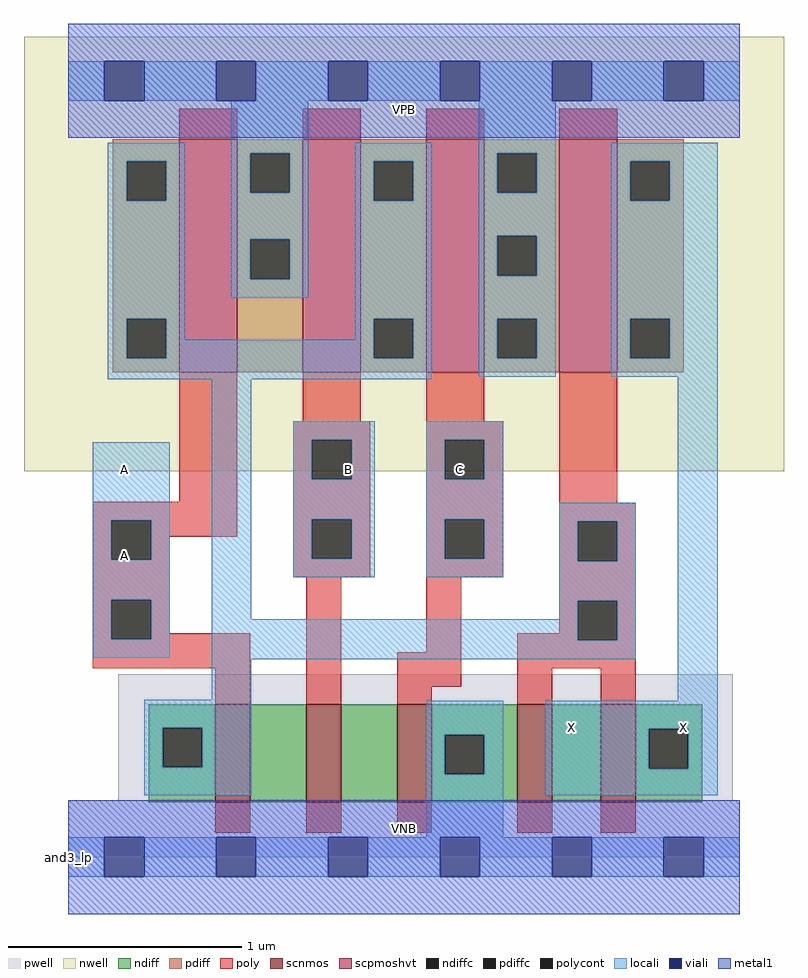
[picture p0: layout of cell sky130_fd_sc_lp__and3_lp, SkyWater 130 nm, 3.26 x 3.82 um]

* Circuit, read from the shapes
.subckt sky130_fd_sc_lp__and3_lp A B C VGND VNB VPB VPWR X
XM1 n1 A n2 VNB sky130_fd_pr__nfet_01v8 w=0.42 l=0.15
XM2 n3 B n1 VNB sky130_fd_pr__nfet_01v8 w=0.42 l=0.15
XM3 VGND C n3 VNB sky130_fd_pr__nfet_01v8 w=0.42 l=0.15
XM4 n4 n2 VGND VNB sky130_fd_pr__nfet_01v8 w=0.42 l=0.15
XM5 X n2 n4 VNB sky130_fd_pr__nfet_01v8 w=0.42 l=0.15
XM6 VPWR A n2 VPB sky130_fd_pr__pfet_01v8_hvt w=1 l=0.25
XM7 n2 B VPWR VPB sky130_fd_pr__pfet_01v8_hvt w=1 l=0.25
XM8 VPWR C n2 VPB sky130_fd_pr__pfet_01v8_hvt w=1 l=0.25
XM9 X n2 VPWR VPB sky130_fd_pr__pfet_01v8_hvt w=1 l=0.25
.ends

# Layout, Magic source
magic
tech sky130A
magscale 1 2
<< nwell >>
rect -38 331 614 704
<< pwell >>
rect 43 49 570 157
rect 0 0 576 49
<< scnmos >>
rect 126 47 156 131
rect 204 47 234 131
rect 282 47 312 131
rect 385 47 415 131
rect 457 47 487 131
<< scpmoshvt >>
rect 95 416 145 616
rect 201 416 251 616
rect 307 416 357 616
rect 421 416 471 616
<< ndiff >>
rect 69 111 126 131
rect 69 77 81 111
rect 115 77 126 111
rect 69 47 126 77
rect 156 47 204 131
rect 234 47 282 131
rect 312 105 385 131
rect 312 71 323 105
rect 357 71 385 105
rect 312 47 385 71
rect 415 47 457 131
rect 487 110 544 131
rect 487 76 498 110
rect 532 76 544 110
rect 487 47 544 76
<< pdiff >>
rect 38 597 95 616
rect 38 563 50 597
rect 84 563 95 597
rect 38 462 95 563
rect 38 428 50 462
rect 84 428 95 462
rect 38 416 95 428
rect 145 604 201 616
rect 145 570 156 604
rect 190 570 201 604
rect 145 530 201 570
rect 145 496 156 530
rect 190 496 201 530
rect 145 416 201 496
rect 251 597 307 616
rect 251 563 262 597
rect 296 563 307 597
rect 251 462 307 563
rect 251 428 262 462
rect 296 428 307 462
rect 251 416 307 428
rect 357 604 421 616
rect 357 570 368 604
rect 402 570 421 604
rect 357 533 421 570
rect 357 499 368 533
rect 402 499 421 533
rect 357 462 421 499
rect 357 428 368 462
rect 402 428 421 462
rect 357 416 421 428
rect 471 597 528 616
rect 471 563 482 597
rect 516 563 528 597
rect 471 462 528 563
rect 471 428 482 462
rect 516 428 528 462
rect 471 416 528 428
<< ndiffc >>
rect 81 77 115 111
rect 323 71 357 105
rect 498 76 532 110
<< pdiffc >>
rect 50 563 84 597
rect 50 428 84 462
rect 156 570 190 604
rect 156 496 190 530
rect 262 563 296 597
rect 262 428 296 462
rect 368 570 402 604
rect 368 499 402 533
rect 368 428 402 462
rect 482 563 516 597
rect 482 428 516 462
<< poly >>
rect 95 616 145 642
rect 201 616 251 642
rect 307 616 357 642
rect 421 616 471 642
rect 95 305 145 416
rect 201 374 251 416
rect 307 374 357 416
rect 21 289 145 305
rect 21 255 37 289
rect 71 275 145 289
rect 193 358 259 374
rect 193 324 209 358
rect 243 324 259 358
rect 193 290 259 324
rect 71 255 87 275
rect 21 221 87 255
rect 193 256 209 290
rect 243 256 259 290
rect 193 240 259 256
rect 307 358 373 374
rect 307 324 323 358
rect 357 324 373 358
rect 307 290 373 324
rect 307 256 323 290
rect 357 256 373 290
rect 307 240 373 256
rect 421 304 471 416
rect 421 288 487 304
rect 421 254 437 288
rect 471 254 487 288
rect 21 187 37 221
rect 71 192 87 221
rect 71 187 156 192
rect 21 162 156 187
rect 126 131 156 162
rect 204 131 234 240
rect 307 176 337 240
rect 421 220 487 254
rect 421 192 437 220
rect 282 146 337 176
rect 385 186 437 192
rect 471 186 487 220
rect 385 162 487 186
rect 282 131 312 146
rect 385 131 415 162
rect 457 131 487 162
rect 126 21 156 47
rect 204 21 234 47
rect 282 21 312 47
rect 385 21 415 47
rect 457 21 487 47
<< polycont >>
rect 37 255 71 289
rect 209 324 243 358
rect 209 256 243 290
rect 323 324 357 358
rect 323 256 357 290
rect 437 254 471 288
rect 37 187 71 221
rect 437 186 471 220
<< locali >>
rect 0 649 31 683
rect 65 649 127 683
rect 161 649 223 683
rect 257 649 319 683
rect 353 649 415 683
rect 449 649 511 683
rect 545 649 576 683
rect 34 597 100 613
rect 34 563 50 597
rect 84 563 100 597
rect 34 462 100 563
rect 140 604 206 649
rect 140 570 156 604
rect 190 570 206 604
rect 140 530 206 570
rect 140 496 156 530
rect 190 496 206 530
rect 140 480 206 496
rect 246 597 312 613
rect 246 563 262 597
rect 296 563 312 597
rect 34 428 50 462
rect 84 444 100 462
rect 246 462 312 563
rect 246 444 262 462
rect 84 428 262 444
rect 296 428 312 462
rect 34 410 312 428
rect 352 604 418 649
rect 352 570 368 604
rect 402 570 418 604
rect 352 533 418 570
rect 352 499 368 533
rect 402 499 418 533
rect 352 462 418 499
rect 352 428 368 462
rect 402 428 418 462
rect 352 412 418 428
rect 466 597 557 613
rect 466 563 482 597
rect 516 563 557 597
rect 466 462 557 563
rect 466 428 482 462
rect 516 428 557 462
rect 466 412 557 428
rect 21 289 87 356
rect 21 255 37 289
rect 71 255 87 289
rect 21 221 87 255
rect 21 187 37 221
rect 71 187 87 221
rect 21 171 87 187
rect 123 204 157 410
rect 193 358 263 374
rect 193 324 209 358
rect 243 324 263 358
rect 193 290 263 324
rect 193 256 209 290
rect 243 256 263 290
rect 193 240 263 256
rect 307 358 373 374
rect 307 324 323 358
rect 357 324 373 358
rect 307 290 373 324
rect 307 256 323 290
rect 357 256 373 290
rect 307 240 373 256
rect 421 288 487 304
rect 421 254 437 288
rect 471 254 487 288
rect 421 220 487 254
rect 421 204 437 220
rect 123 186 437 204
rect 471 186 487 220
rect 123 170 487 186
rect 123 135 157 170
rect 65 111 157 135
rect 523 134 557 412
rect 65 77 81 111
rect 115 77 157 111
rect 65 53 157 77
rect 307 105 373 134
rect 307 71 323 105
rect 357 71 373 105
rect 307 17 373 71
rect 409 110 557 134
rect 409 76 498 110
rect 532 76 557 110
rect 409 53 557 76
rect 0 -17 31 17
rect 65 -17 127 17
rect 161 -17 223 17
rect 257 -17 319 17
rect 353 -17 415 17
rect 449 -17 511 17
rect 545 -17 576 17
<< viali >>
rect 31 649 65 683
rect 127 649 161 683
rect 223 649 257 683
rect 319 649 353 683
rect 415 649 449 683
rect 511 649 545 683
rect 31 -17 65 17
rect 127 -17 161 17
rect 223 -17 257 17
rect 319 -17 353 17
rect 415 -17 449 17
rect 511 -17 545 17
<< metal1 >>
rect 0 683 576 715
rect 0 649 31 683
rect 65 649 127 683
rect 161 649 223 683
rect 257 649 319 683
rect 353 649 415 683
rect 449 649 511 683
rect 545 649 576 683
rect 0 617 576 649
rect 0 17 576 49
rect 0 -17 31 17
rect 65 -17 127 17
rect 161 -17 223 17
rect 257 -17 319 17
rect 353 -17 415 17
rect 449 -17 511 17
rect 545 -17 576 17
rect 0 -49 576 -17
<< labels >>
flabel pwell s 0 0 576 49 0 FreeSans 200 0 0 0 VNB
port 5 nsew ground bidirectional
flabel nwell s 0 617 576 666 0 FreeSans 200 0 0 0 VPB
port 6 nsew power bidirectional
rlabel comment s 0 0 0 0 4 and3_lp
flabel metal1 s 0 0 576 49 0 FreeSans 340 0 0 0 VGND
port 4 nsew ground bidirectional
flabel metal1 s 0 617 576 666 0 FreeSans 340 0 0 0 VPWR
port 7 nsew power bidirectional
flabel locali s 319 316 353 350 0 FreeSans 340 0 0 0 C
port 3 nsew signal input
flabel locali s 223 316 257 350 0 FreeSans 340 0 0 0 B
port 2 nsew signal input
flabel locali s 31 242 65 276 0 FreeSans 340 0 0 0 A
port 1 nsew signal input
flabel locali s 31 316 65 350 0 FreeSans 340 0 0 0 A
port 1 nsew signal input
flabel locali s 415 94 449 128 0 FreeSans 340 0 0 0 X
port 8 nsew signal output
flabel locali s 511 94 545 128 0 FreeSans 340 0 0 0 X
port 8 nsew signal output
<< properties >>
string LEFsite unit
string LEFclass CORE
string FIXED_BBOX 0 0 576 666
string GDS_FILE $PDKPATH/libs.ref/sky130_fd_sc_lp/gds/sky130_fd_sc_lp.gds
string LEFsymmetry X Y R90
string GDS_END 5075988
string GDS_START 5070402
<< end >>
